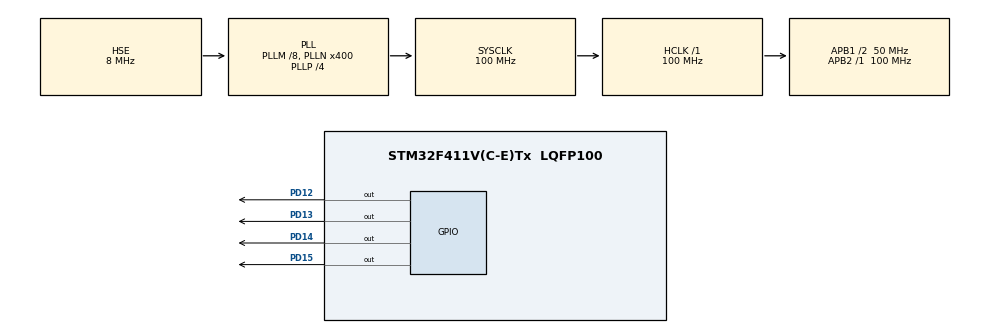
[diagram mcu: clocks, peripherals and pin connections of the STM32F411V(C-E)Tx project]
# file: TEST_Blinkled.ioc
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FREERTOS.Tasks01=Task01,24,128,StartTask01,Default,NULL,Dynamic,NULL,NULL
FREERTOS.Timers01=myTimer01,myTimerCallback01,osTimerPeriodic,Default,NULL,Dynamic,NULL
Mcu.Family=STM32F4
Mcu.Name=STM32F411V(C-E)Tx
Mcu.Package=LQFP100
NVIC.PriorityGroup=NVIC_PRIORITYGROUP_4
NVIC.TIM2_IRQn=true\:0\:0\:false\:false\:true\:false\:false\:true
NVIC.TIM3_IRQn=true\:5\:0\:false\:false\:true\:true\:true\:true
NVIC.TimeBase=TIM2_IRQn
NVIC.TimeBaseIP=TIM2
PA13.Mode=Serial_Wire
PA13.Signal=SYS_JTMS-SWDIO
PA14.Mode=Serial_Wire
PA14.Signal=SYS_JTCK-SWCLK
PD12.GPIO_ModeDefaultOutputPP=GPIO_MODE_OUTPUT_PP
PD12.GPIO_PuPd=GPIO_NOPULL
PD12.GPIO_Speed=GPIO_SPEED_FREQ_HIGH
PD12.PinState=GPIO_PIN_RESET
PD12.Signal=GPIO_Output
PD13.GPIO_ModeDefaultOutputPP=GPIO_MODE_OUTPUT_PP
PD13.GPIO_PuPd=GPIO_NOPULL
PD13.GPIO_Speed=GPIO_SPEED_FREQ_HIGH
PD13.PinState=GPIO_PIN_RESET
PD13.Signal=GPIO_Output
PD14.GPIO_ModeDefaultOutputPP=GPIO_MODE_OUTPUT_PP
PD14.GPIO_PuPd=GPIO_NOPULL
PD14.GPIO_Speed=GPIO_SPEED_FREQ_HIGH
PD14.PinState=GPIO_PIN_RESET
PD14.Signal=GPIO_Output
PD15.GPIO_ModeDefaultOutputPP=GPIO_MODE_OUTPUT_PP
PD15.GPIO_PuPd=GPIO_NOPULL
PD15.GPIO_Speed=GPIO_SPEED_FREQ_HIGH
PD15.PinState=GPIO_PIN_RESET
PD15.Signal=GPIO_Output
PH0\ -\ OSC_IN.Mode=HSE-External-Oscillator
PH0\ -\ OSC_IN.Signal=RCC_OSC_IN
PH1\ -\ OSC_OUT.Mode=HSE-External-Oscillator
PH1\ -\ OSC_OUT.Signal=RCC_OSC_OUT
ProjectManager.HeapSize=0x200
ProjectManager.StackSize=0x400
ProjectManager.TargetToolchain=Makefile
RCC.48MHZClocksFreq_Value=100000000
RCC.AHBFreq_Value=100000000
RCC.APB1CLKDivider=RCC_HCLK_DIV2
RCC.APB1Freq_Value=50000000
RCC.APB1TimFreq_Value=100000000
RCC.APB2Freq_Value=100000000
RCC.APB2TimFreq_Value=100000000
RCC.CortexFreq_Value=100000000
RCC.HCLKFreq_Value=100000000
RCC.HSE_VALUE=8000000
RCC.HSI_VALUE=16000000
RCC.LSE_VALUE=32768
RCC.PLLM=8
RCC.PLLN=400
RCC.PLLP=RCC_PLLP_DIV4
RCC.PLLSourceVirtual=RCC_PLLSOURCE_HSE
RCC.SYSCLKFreq_VALUE=100000000
RCC.SYSCLKSource=RCC_SYSCLKSOURCE_PLLCLK
RCC.VCOOutputFreq_Value=400000000
TIM3.Period=9999
TIM3.Prescaler=9999
VP_FREERTOS_VS_CMSIS_V2.Mode=CMSIS_V2
VP_SYS_VS_tim2.Mode=TIM2
VP_TIM3_VS_ClockSourceINT.Mode=Internal
board=custom

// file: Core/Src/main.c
/* USER CODE BEGIN Header */
/* USER CODE END Header */
#include "main.h"
#include "cmsis_os.h"

TIM_HandleTypeDef htim3;

/* Definitions for Task01 */
osThreadId_t Task01Handle;
const osThreadAttr_t Task01_attributes = {
  .name = "Task01",
  .priority = (osPriority_t) osPriorityNormal,
  .stack_size = 128 * 4
};
/* Definitions for myTimer01 */
osTimerId_t myTimer01Handle;
const osTimerAttr_t myTimer01_attributes = {
  .name = "myTimer01"
};
/* USER CODE BEGIN PV */

  GPIO_t myLED_InitStruct;

/* USER CODE END PV */

void SystemClock_Config(void);
static void MX_GPIO_Init(void);
static void MX_TIM3_Init(void);
void StartTask01(void *argument);
void myTimerCallback01(GPIO_t *argument);

/* USER CODE BEGIN PFP */
void blink1(GPIO_t* GPIO, int activeTime, int Period);
void blink2(GPIO_t* GPIO, int activeTime, int Period);
/* USER CODE END PFP */

int main(void)
{

  /* MCU Configuration--------------------------------------------------------*/

  /* Reset of all peripherals, Initializes the Flash interface and the Systick. */
  HAL_Init();

  /* Configure the system clock */
  SystemClock_Config();

  /* Initialize all configured peripherals */
  MX_GPIO_Init();
  MX_TIM3_Init();

  /* USER CODE BEGIN 2 */

  GPIO_t* myLED1 = &myLED_InitStruct;

  myLED1->GPIO_port = GPIOD;
  myLED1->GPIO_pin = GPIO_PIN_13;

  blink1(myLED1, 3000, 4000);

  /* USER CODE END 2 */

  /* Init scheduler */
  osKernelInitialize();

  /* Create the timer(s) */
  /* creation of myTimer01 */

  /* Create the thread(s) */
  /* creation of Task01 */
  Task01Handle = osThreadNew(StartTask01, NULL, &Task01_attributes);

  /* Start scheduler */
  osKernelStart();

  /* We should never get here as control is now taken by the scheduler */
  /* Infinite loop */

}

void SystemClock_Config(void)
{
  RCC_OscInitTypeDef RCC_OscInitStruct = {0};
  RCC_ClkInitTypeDef RCC_ClkInitStruct = {0};

  /** Configure the main internal regulator output voltage
  */
  __HAL_RCC_PWR_CLK_ENABLE();
  __HAL_PWR_VOLTAGESCALING_CONFIG(PWR_REGULATOR_VOLTAGE_SCALE1);
  /** Initializes the RCC Oscillators according to the specified parameters
  * in the RCC_OscInitTypeDef structure.
  */
  RCC_OscInitStruct.OscillatorType = RCC_OSCILLATORTYPE_HSE;
  RCC_OscInitStruct.HSEState = RCC_HSE_ON;
  RCC_OscInitStruct.PLL.PLLState = RCC_PLL_ON;
  RCC_OscInitStruct.PLL.PLLSource = RCC_PLLSOURCE_HSE;
  RCC_OscInitStruct.PLL.PLLM = 8;
  RCC_OscInitStruct.PLL.PLLN = 400;
  RCC_OscInitStruct.PLL.PLLP = RCC_PLLP_DIV4;
  RCC_OscInitStruct.PLL.PLLQ = 4;
  if (HAL_RCC_OscConfig(&RCC_OscInitStruct) != HAL_OK)
  {
    Error_Handler();
  }
  /** Initializes the CPU, AHB and APB buses clocks
  */
  RCC_ClkInitStruct.ClockType = RCC_CLOCKTYPE_HCLK|RCC_CLOCKTYPE_SYSCLK
                              |RCC_CLOCKTYPE_PCLK1|RCC_CLOCKTYPE_PCLK2;
  RCC_ClkInitStruct.SYSCLKSource = RCC_SYSCLKSOURCE_PLLCLK;
  RCC_ClkInitStruct.AHBCLKDivider = RCC_SYSCLK_DIV1;
  RCC_ClkInitStruct.APB1CLKDivider = RCC_HCLK_DIV2;
  RCC_ClkInitStruct.APB2CLKDivider = RCC_HCLK_DIV1;

  if (HAL_RCC_ClockConfig(&RCC_ClkInitStruct, FLASH_LATENCY_3) != HAL_OK)
  {
    Error_Handler();
  }
}

static void MX_TIM3_Init(void)
{

  TIM_ClockConfigTypeDef sClockSourceConfig = {0};
  TIM_MasterConfigTypeDef sMasterConfig = {0};

  htim3.Instance = TIM3;
  htim3.Init.Prescaler = 9999;
  htim3.Init.CounterMode = TIM_COUNTERMODE_UP;
  htim3.Init.Period = 9999;
  htim3.Init.ClockDivision = TIM_CLOCKDIVISION_DIV1;
  htim3.Init.AutoReloadPreload = TIM_AUTORELOAD_PRELOAD_DISABLE;
  if (HAL_TIM_Base_Init(&htim3) != HAL_OK)
  {
    Error_Handler();
  }
  sClockSourceConfig.ClockSource = TIM_CLOCKSOURCE_INTERNAL;
  if (HAL_TIM_ConfigClockSource(&htim3, &sClockSourceConfig) != HAL_OK)
  {
    Error_Handler();
  }
  sMasterConfig.MasterOutputTrigger = TIM_TRGO_RESET;
  sMasterConfig.MasterSlaveMode = TIM_MASTERSLAVEMODE_DISABLE;
  if (HAL_TIMEx_MasterConfigSynchronization(&htim3, &sMasterConfig) != HAL_OK)
  {
    Error_Handler();
  }
  /* USER CODE BEGIN TIM3_Init 2 */
    HAL_TIM_Base_Stop(&htim3);
    HAL_TIM_Base_Stop_IT(&htim3);
  /* USER CODE END TIM3_Init 2 */

}

static void MX_GPIO_Init(void)
{
  GPIO_InitTypeDef GPIO_InitStruct = {0};

  /* GPIO Ports Clock Enable */
  __HAL_RCC_GPIOH_CLK_ENABLE();
  __HAL_RCC_GPIOD_CLK_ENABLE();
  __HAL_RCC_GPIOA_CLK_ENABLE();

  /*Configure GPIO pin Output Level */
  HAL_GPIO_WritePin(GPIOD, GPIO_PIN_12|GPIO_PIN_13|GPIO_PIN_14|GPIO_PIN_15, GPIO_PIN_RESET);

  /*Configure GPIO pins : PD12 PD13 PD14 PD15 */
  GPIO_InitStruct.Pin = GPIO_PIN_12|GPIO_PIN_13|GPIO_PIN_14|GPIO_PIN_15;
  GPIO_InitStruct.Mode = GPIO_MODE_OUTPUT_PP;
  GPIO_InitStruct.Pull = GPIO_NOPULL;
  GPIO_InitStruct.Speed = GPIO_SPEED_FREQ_HIGH;
  HAL_GPIO_Init(GPIOD, &GPIO_InitStruct);

}

/* USER CODE BEGIN 4 */

void blink1(GPIO_t* GPIO, int activeTime, int Period)
{
  GPIO->LED_ActiveTime = activeTime * 10;
  GPIO->LED_Period = Period * 10;

  HAL_GPIO_WritePin(GPIO->GPIO_port, GPIO->GPIO_pin, 1);
  htim3.Instance->ARR = GPIO->LED_ActiveTime;
  htim3.Instance->SR &= ~(1UL << 0);    //clear Interrupt flag
  HAL_TIM_Base_Start(&htim3);
  HAL_TIM_Base_Start_IT(&htim3);
}

void blink2(GPIO_t* GPIO, int activeTime, int Period)
{
  GPIO->LED_ActiveTime = activeTime;
  GPIO->LED_Period = Period;

  myTimer01Handle = osTimerNew(myTimerCallback01, osTimerPeriodic, GPIO, &myTimer01_attributes);

  HAL_GPIO_WritePin(GPIO->GPIO_port, GPIO->GPIO_pin, 1);
  osTimerStart(myTimer01Handle, activeTime);

}

/* USER CODE END 4 */

void StartTask01(void *argument)
{
  /* USER CODE BEGIN 5 */
  GPIO_t myLED2;

  myLED2.GPIO_port = GPIOD;
  myLED2.GPIO_pin = GPIO_PIN_15;

  blink2(&myLED2, 1000, 4000);

  while(1)
  {
    osDelay(1);
  }

  /* USER CODE END 5 */
}

/* myTimerCallback01 function */
void myTimerCallback01(GPIO_t *argument)
{
  /* USER CODE BEGIN myTimerCallback01 */
  osTimerStop(myTimer01Handle);
  GPIO_t* LED_Data = argument;
  HAL_GPIO_TogglePin(LED_Data->GPIO_port, LED_Data->GPIO_pin);
  if(HAL_GPIO_ReadPin(LED_Data->GPIO_port, LED_Data->GPIO_pin) == GPIO_PIN_RESET)
  {
    osTimerStart(myTimer01Handle, LED_Data->LED_Period - LED_Data->LED_ActiveTime);
  }
  else
  {
    osTimerStart(myTimer01Handle, LED_Data->LED_ActiveTime);
  }

  /* USER CODE END myTimerCallback01 */
}

void HAL_TIM_PeriodElapsedCallback(TIM_HandleTypeDef *htim)
{
  /* USER CODE BEGIN Callback 0 */
  if(htim->Instance == TIM3)
  {
    HAL_GPIO_TogglePin(myLED_InitStruct.GPIO_port, myLED_InitStruct.GPIO_pin);
    if(HAL_GPIO_ReadPin(myLED_InitStruct.GPIO_port, myLED_InitStruct.GPIO_pin) == GPIO_PIN_RESET)
    {
      htim3.Instance->ARR = myLED_InitStruct.LED_Period - myLED_InitStruct.LED_ActiveTime;
    }
    else
    {
      htim3.Instance->ARR = myLED_InitStruct.LED_ActiveTime;
    }
  }

  /* USER CODE END Callback 0 */
  if (htim->Instance == TIM2)
  {
    HAL_IncTick();
  }
}

void Error_Handler(void)
{
}

/************************ (C) COPYRIGHT STMicroelectronics *****END OF FILE****/
